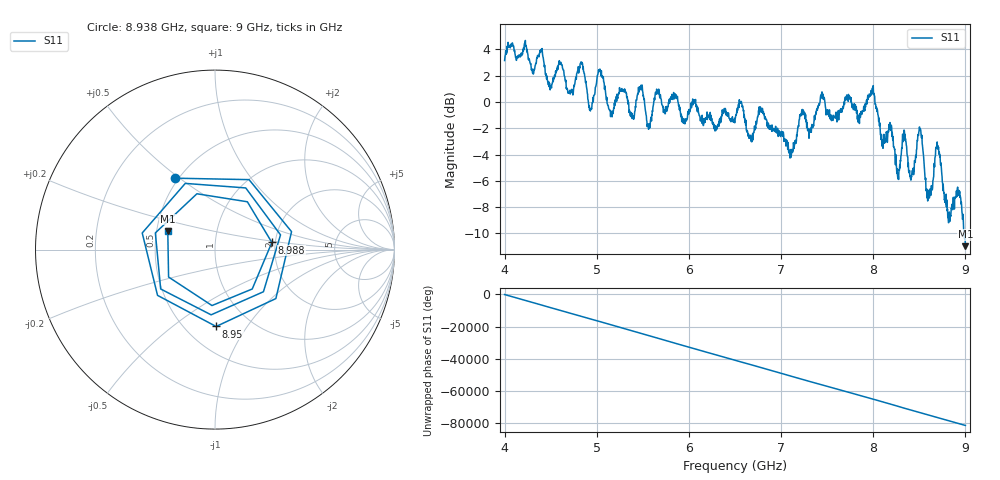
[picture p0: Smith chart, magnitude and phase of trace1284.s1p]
! Created with skrf 1.8.0 (http://scikit-rf.org).
# Hz S RI R 50.0
!freq ReS11 ImS11
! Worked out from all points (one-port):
!   1601 points, 4 GHz to 9 GHz, reference 50 ohm
!   lowest |S11| = -11.0 dB at 9 GHz (marker M1), VSWR 1.79, Z = 28.6 + j6.48 ohm
!   |S11| at or under -10 dB: 8.988518 GHz to end of sweep
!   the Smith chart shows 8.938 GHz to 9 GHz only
!   S11 on the Smith chart (normalised r, x): 8.938 GHz: 0.48, +0.48; 8.95 GHz: 0.70, -0.73; 8.988 GHz: 1.92, +0.17; 9 GHz: 0.57, +0.13
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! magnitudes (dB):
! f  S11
! 4 GHz  3.2
! 4.625 GHz  2.8
! 4.719 GHz  0.7
! 4.838 GHz  3.0
! 4.931 GHz  -0.7
! 5.031 GHz  2.3
! 5.153 GHz  -0.8
! 5.25 GHz  0.9
! 5.388 GHz  -1.0
! 5.478 GHz  1.3
! 5.566 GHz  -1.9
! 5.656 GHz  0.8
! 5.875 GHz  0.4
! 6.5 GHz  -1.2
! 7.125 GHz  -3.8
! 7.225 GHz  -0.6
! 7.75 GHz  0.4
! 7.991 GHz  1.1
! 8.262 GHz  -5.5
! 8.375 GHz  -4.2
! 8.506 GHz  -2.1
! 8.597 GHz  -6.7
! 8.7 GHz  -3.3
! 8.819 GHz  -9.2
! 8.938 GHz  -6.8
! 8.95 GHz  -7.4
! 8.988 GHz  -9.9
! 9 GHz  -11.0
